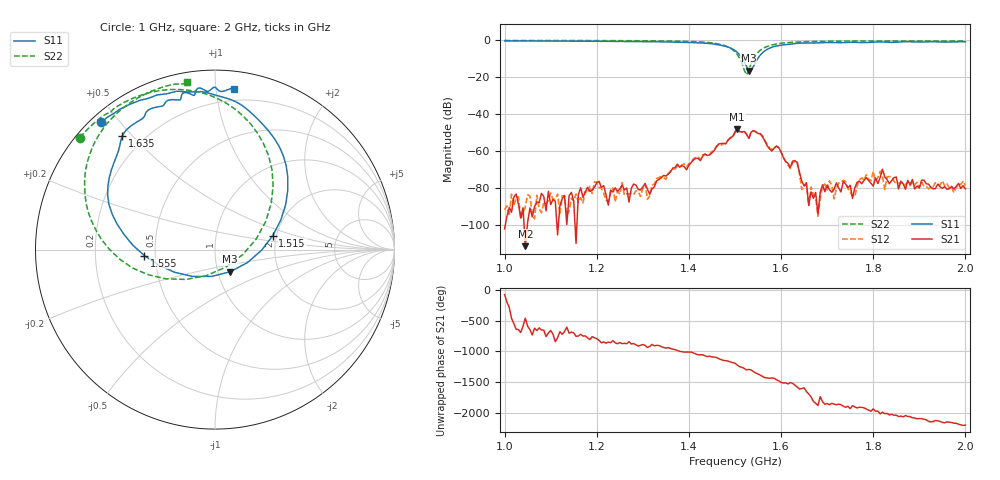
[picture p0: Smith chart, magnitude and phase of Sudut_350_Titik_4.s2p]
# Hz S RI R 50
! CMT, C1220, 16058040, 17.2.0/1
! Date: 14/08/2018 12:34:05
! Data: Format (Calibration Info)
! Freq  S11: Re/Im (F2)  S21: Re/Im (F2)  S12: Re/Im (F2)  S22: Re/Im (F2)
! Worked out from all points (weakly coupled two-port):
!   201 points, 1 GHz to 2 GHz, reference 50 ohm
!   highest |S21| = -47.96 dB at 1.505 GHz (marker M1); lowest = -111.3 dB at 1.045 GHz (marker M2)
!   lowest |S11| = -16.5 dB at 1.53 GHz (marker M3), VSWR 1.35, Z = 57.4 - j14.5 ohm
!   |S11| at or under -10 dB: 1.516 GHz to 1.549 GHz (33.32 MHz wide, 2.17 % of centre)
!   |S22| runs from -18.8 to -0.2 dB; largest |S21 - S12| = 0.00021
!   S11 on the Smith chart (normalised r, x): 1 GHz: 0.03, +0.45; 1.515 GHz: 1.91, +0.33; 1.555 GHz: 0.43, -0.03; 1.635 GHz: 0.12, +0.47; 2 GHz: 0.12, +1.12
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1e9  -0.6338 0.709  1.97e-06 -7.78e-06  -7.57e-06 2.54e-05  -0.753 0.624
1.045e9  -0.5958 0.7402  -4.8e-07 -2.7e-06  -2.47e-05 2.02e-05  -0.7222 0.6574
1.17e9  -0.4566 0.8166  4.83e-05 -3.02e-05  3.39e-05 -2.17e-05  -0.6172 0.7492
1.315e9  -0.2192 0.8815  -6.47e-05 2.4e-05  -4.57e-05 4.29e-05  -0.4395 0.8504
1.335e9  -0.1914 0.8809  -0.000172 1.57e-05  -0.000186 6e-05  -0.4017 0.8635
1.45e9  0.1924 0.77  0.000886 -0.000176  0.000965 -0.000211  0.0198 0.8388
1.5e9  0.4055 0.3321  -0.00138 -0.00308  -0.00129 -0.00289  0.3238 0.3546
1.505e9  0.3939 0.2513  -0.00327 -0.00231  -0.00308 -0.00233  0.3133 0.2585
1.515e9  0.322 0.0779  -0.00331 -7.92e-06  -0.00332 -0.000105  0.2294 0.0586
1.53e9  0.0851 -0.1232  -0.00184 0.00125  -0.00183 0.00125  -0.0498 -0.1455
1.555e9  -0.3939 -0.0336  0.00188 0.00224  0.0018 0.00238  -0.5315 -0.0531
1.62e9  -0.533 0.5681  0.000134 -0.000338  0.000115 -0.000319  -0.7086 0.4977
1.635e9  -0.517 0.6315  -0.00039 -0.000302  -0.000418 -0.000291  -0.6855 0.5636
1.645e9  -0.4921 0.6683  -0.000152 -3.65e-05  -9.34e-05 2.05e-06  -0.6692 0.5999
1.67e9  -0.4072 0.7282  5.17e-05 -1.45e-05  6.38e-05 -2.77e-05  -0.6252 0.6713
1.76e9  -0.2468 0.835  -2.47e-05 -0.0001  3.13e-06 -5.91e-05  -0.4833 0.8102
1.785e9  -0.1926 0.8357  -0.000146 -0.000127  -0.000192 -0.00013  -0.4469 0.8342
1.8e9  -0.1865 0.8601  -8.31e-05 -7.93e-05  -0.000283 -2.89e-05  -0.426 0.8468
1.82e9  -0.1544 0.8733  -0.000321 5.92e-05  -0.000211 4.09e-05  -0.3984 0.8614
1.825e9  -0.1423 0.8694  -0.000165 0.000118  -6.83e-05 6.12e-05  -0.3919 0.8646
1.835e9  -0.122 0.8603  -7.21e-05 0.000111  -0.000172 0.000117  -0.3786 0.8716
2e9  0.1069 0.8931  7.28e-05 -6.37e-05  6.86e-05 -9.54e-05  -0.1553 0.9315
